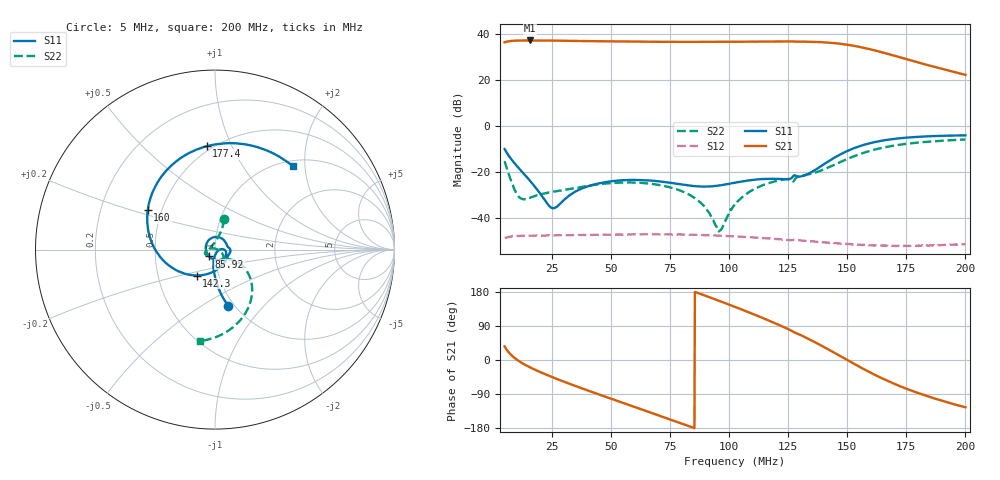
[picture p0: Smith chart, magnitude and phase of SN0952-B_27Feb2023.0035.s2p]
# Hz S DB R 50
! CMT, M5045, 22160017, 22.4.3/2
! Date: 2/27/2023 00:35:02
! Data: Format (Calibration Info)
! Freq	S11:dB/Ang(F2)	S21:dB/Ang(F2)	S12:dB/Ang(F2)	S22:dB/Ang(F2)
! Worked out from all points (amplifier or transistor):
!   1001 points, 5 MHz to 200 MHz, reference 50 ohm
!   highest |S21| = 37.2 dB at 15.72 MHz (marker M1)
!   |S21| within 3 dB of that: start of sweep to 156.2 MHz
!   unconditionally stable (mu >= 1): start of sweep to end of sweep
!   at 37.37 MHz: K = 1.76, MAG = 37.0 dB, |S12| = -47.2 dB
!   at 102.5 MHz: K = 1.92, MAG = 36.7 dB, |S12| = -47.7 dB
!   at 200 MHz: K = 6.34, MAG = 25.7 dB, |S12| = -51.1 dB
!   S11 on the Smith chart (normalised r, x): 5 MHz: 0.94, -0.65; 85.92 MHz: 0.93, -0.07; 142.3 MHz: 0.78, -0.23; 160 MHz: 0.42, +0.23; 177.4 MHz: 0.47, +0.81; 200 MHz: 1.11, +1.73
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5000000  -9.89 -76.9  36.41 36.0  -48.44 38.7  -15.13 73.3
9095000  -15.93 -89.3  37.10 6.0  -47.72 8.8  -27.20 88.0
1.5725e7  -23.60 -97.0  37.22 -19.3  -47.46 -16.3  -31.02 163.0
2.6255e7  -35.45 -32.1  37.14 -47.9  -47.30 -44.3  -28.29 -165.8
3.7565e7  -27.04 3.2  36.98 -74.5  -47.15 -69.5  -26.36 -152.8
5.2775e7  -23.58 -19.5  36.78 -108.2  -47.00 -100.4  -24.49 -154.6
7.013e7  -23.88 -63.6  36.64 -145.9  -46.89 -134.8  -25.45 -169.2
7.8125e7  -24.99 -92.8  36.62 -163.6  -47.00 -151.0  -27.49 -179.5
8.5925e7  -26.03 -130.4  36.62 178.9  -47.05 -167.1  -31.52 166.6
9.4115e7  -25.90 -177.3  36.62 160.0  -47.35 176.5  -42.79 122.8
1.025e8  -24.47 136.7  36.65 140.2  -47.72 158.5  -34.03 -7.6
1.1225e8  -23.04 89.4  36.72 116.0  -48.36 135.6  -26.45 -29.5
1.20635e8  -22.84 45.1  36.78 93.8  -49.00 115.2  -23.61 -39.4
1.2629e8  -22.57 10.7  36.86 77.5  -49.41 100.9  -23.28 -44.4
1.35065e8  -19.79 -74.3  36.65 51.0  -49.91 70.7  -20.51 -34.4
1.4228e8  -15.05 -125.3  36.29 27.0  -50.63 44.6  -17.76 -29.0
1.5008e8  -10.72 -167.3  35.38 -0.4  -51.04 14.1  -14.17 -31.9
1.60025e8  -7.24 149.6  33.32 -33.9  -51.62 -24.4  -10.55 -45.8
1.6763e8  -5.78 122.8  31.28 -56.6  -51.84 -50.4  -8.77 -58.4
1.7738e8  -4.77 94.6  28.45 -81.3  -51.89 -76.3  -7.35 -73.1
1.87325e8  -4.25 71.3  25.63 -102.3  -51.72 -96.7  -6.45 -85.8
2e8  -3.94 47.1  22.32 -124.8  -51.08 -116.1  -5.75 -99.1
